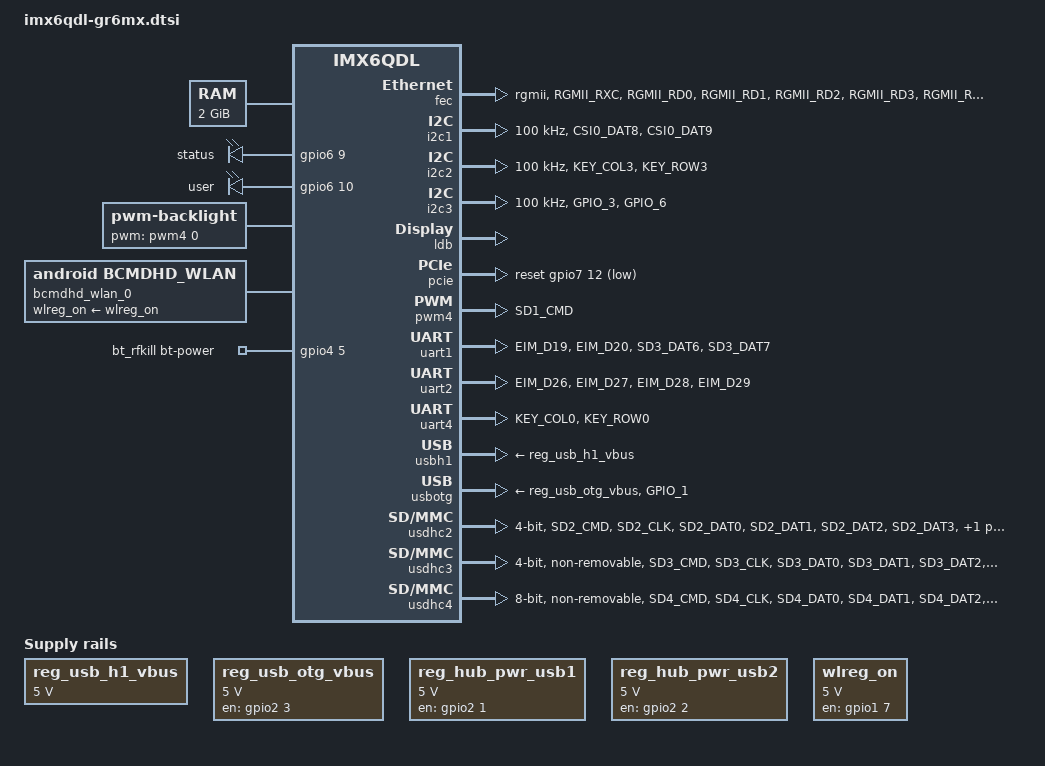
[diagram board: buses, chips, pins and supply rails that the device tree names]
/*
 *
 * Copyright (C) 2015 Frodo Lai
 *
 * This program is free software; you can redistribute it and/or modify
 * it under the terms of the GNU General Public License version 2 as
 * published by the Free Software Foundation.
 *
 */

/{
	aliases {
		mxcfb0 = &mxcfb1;
		mxcfb1 = &mxcfb2;
		mxcfb2 = &mxcfb3;
		mxcfb3 = &mxcfb4;

		vesa_1024x768 = &vesa_1024x768;
		fg_1024x600 = &fg_1024x600;
		vesa_1024x768_2 = &vesa_1024x768_2;
		fg_1024x600_2 = &fg_1024x600_2;
	};

	memory {
		reg = <0x10000000 0x80000000>;
	};

	regulators {
		compatible = "simple-bus";

		reg_usb_h1_vbus: usb_h1_vbus {
			compatible = "regulator-fixed";
			regulator-name = "usb_h1_vbus";
			regulator-min-microvolt = <5000000>;
			regulator-max-microvolt = <5000000>;
		};

		reg_usb_otg_vbus: usb_otg_vbus {
			compatible = "regulator-fixed";
			regulator-name = "usb_otg_vbus";
			regulator-min-microvolt = <5000000>;
			regulator-max-microvolt = <5000000>;
			gpio = <&gpio2 3 0>;
			enable-active-high;
		};

		reg_hub_pwr_usb1: hub_pwr_usb1 {
			compatible = "regulator-fixed";
			regulator-name = "hub_pwr_usb1";
			regulator-min-microvolt = <5000000>;
			regulator-max-microvolt = <5000000>;
			enable-active-high;
			regulator-always-on;
			regulator-boot-on;
			gpio = <&gpio2 1 0>;
		};

		reg_hub_pwr_usb2: hub_pwr_usb2 {
			compatible = "regulator-fixed";
			regulator-name = "hub_pwr_usb2";
			regulator-min-microvolt = <5000000>;
			regulator-max-microvolt = <5000000>;
			enable-active-high;
			regulator-always-on;
			regulator-boot-on;
			gpio = <&gpio2 2 0>;
		};

		leds {
			compatible = "gpio-leds";

			led0: status {
				label = "status";
				gpios = <&gpio6 9 0>;
				default-state = "off";
				linux,default-trigger = "heartbeat";
			};

			led1: user {
				label = "user";
				gpios = <&gpio6 10 0>;
				default-state = "off";
			};

		};

		wlreg_on: fixedregulator@100 {
			compatible = "regulator-fixed";
			regulator-min-microvolt = <5000000>;
			regulator-max-microvolt = <5000000>;
			regulator-name = "wlreg_on";
			gpio = <&gpio1 7 0>;
			startup-delay-us = <100>;
			enable-active-high;
		};
	};

	mxcfb1: fb@0 {
		compatible = "fsl,mxc_sdc_fb";
		disp_dev = "ldb";
		interface_pix_fmt = "RGB666";
		mode_str ="LDB-XGA";
		default_bpp = <16>;
		int_clk = <0>;
		late_init = <0>;
		status = "disabled";
	};

	mxcfb2: fb@1 {
		compatible = "fsl,mxc_sdc_fb";
		disp_dev = "hdmi";
		interface_pix_fmt = "RGB24";
		mode_str ="1920x1080M@60";
		default_bpp = <24>;
		int_clk = <0>;
		late_init = <0>;
		status = "disabled";
	};

	mxcfb3: fb@2 {
		compatible = "fsl,mxc_sdc_fb";
		disp_dev = "lcd";
		interface_pix_fmt = "RGB565";
		mode_str ="CLAA-WVGA";
		default_bpp = <16>;
		int_clk = <0>;
		late_init = <0>;
		status = "disabled";
	};

	mxcfb4: fb@3 {
		compatible = "fsl,mxc_sdc_fb";
		disp_dev = "ldb";
		interface_pix_fmt = "RGB666";
		mode_str ="LDB-XGA";
		default_bpp = <16>;
		int_clk = <0>;
		late_init = <0>;
		status = "disabled";
	};

	lcd@0 {
		compatible = "fsl,lcd";
		ipu_id = <0>;
		disp_id = <0>;
		default_ifmt = "RGB565";
		pinctrl-names = "default";
		pinctrl-0 = <&pinctrl_ipu1>;
		status = "okay";
	};

	pwm-backlight {
		compatible = "pwm-backlight";
		pwms = <&pwm4 0 5000000>;
		brightness-levels = <
			0  /*1  2  3  4  5  6*/  7  8  9
			10 11 12 13 14 15 16 17 18 19
			20 21 22 23 24 25 26 27 28 29
			30 31 32 33 34 35 36 37 38 39
			40 41 42 43 44 45 46 47 48 49
			50 51 52 53 54 55 56 57 58 59
			60 61 62 63 64 65 66 67 68 69
			70 71 72 73 74 75 76 77 78 79
			80 81 82 83 84 85 86 87 88 89
			90 91 92 93 94 95 96 97 98 99
			100
			>;
		default-brightness-level = <75>;
	};

	bcmdhd_wlan_0: bcmdhd_wlan@0 {
		compatible = "android,bcmdhd_wlan";
		wlreg_on-supply = <&wlreg_on>;
	};

	v4l2_out {
		compatible = "fsl,mxc_v4l2_output";
		status = "okay";
	};

    bt_rfkill {
        compatible = "fsl,mxc_bt_rfkill";
        bt-power-gpios = <&gpio4 5 0>;
        status ="okay";
    };
};

&fec {
	pinctrl-names = "default";
	pinctrl-0 = <&pinctrl_enet>;
	phy-mode = "rgmii";
	phy-reset-gpios = <&gpio1 27 GPIO_ACTIVE_LOW>;
	status = "okay";
};

&i2c1 {
	clock-frequency = <100000>;
	pinctrl-names = "default";
	pinctrl-0 = <&pinctrl_i2c1>;
	status = "okay";

};

&i2c2 {
	clock-frequency = <100000>;
	pinctrl-names = "default";
	pinctrl-0 = <&pinctrl_i2c2>;
	status = "okay";

};

&i2c3 {
	clock-frequency = <100000>;
	pinctrl-names = "default";
	pinctrl-0 = <&pinctrl_i2c3>;
	status = "okay";

};

&iomuxc {

	pinctrl-names = "default";
	pinctrl-0 = <&pinctrl_hog>;

	imx6-ar6mx {
	pinctrl_hog: hoggrp {
			fsl,pins = <
				MX6QDL_PAD_SD3_DAT5__GPIO7_IO00     0x80000000   /* SD3_CD   */
				MX6QDL_PAD_SD3_DAT4__GPIO7_IO01     0x80000000   /* SD3_WP   */
				MX6QDL_PAD_GPIO_4__GPIO1_IO04       0x80000000   /* STATUS LED */
				MX6QDL_PAD_GPIO_5__GPIO1_IO05       0x80000000   /* SATA LED */
				MX6QDL_PAD_GPIO_16__GPIO7_IO11      0x80000000   /* PCIE ENABLE */
				MX6QDL_PAD_GPIO_17__GPIO7_IO12      0x80000000   /* PCIE RST */
				MX6QDL_PAD_CSI0_MCLK__CCM_CLKO1    0x130b0
				MX6QDL_PAD_NANDF_D0__GPIO2_IO00      0x1b0b0   /* LCD_RST */
				MX6QDL_PAD_NANDF_D1__GPIO2_IO01      0x80000000   /* BT_REG_ON */
				MX6QDL_PAD_NANDF_D2__GPIO2_IO02      0x80000000   /* BT_REG_ON */
				MX6QDL_PAD_NANDF_D3__GPIO2_IO03      0x80000000   /* BT_REG_ON */
				MX6QDL_PAD_NANDF_D4__GPIO2_IO04      0x80000000   /* BT_REG_ON */
				MX6QDL_PAD_NANDF_D5__GPIO2_IO05      0x80000000   /* BT_REG_ON */
			>;
	};

	pinctrl_enet: enetgrp {
			fsl,pins = <
				MX6QDL_PAD_RGMII_RXC__RGMII_RXC	        0x1b0b0
				MX6QDL_PAD_RGMII_RD0__RGMII_RD0	        0x1b0b0
				MX6QDL_PAD_RGMII_RD1__RGMII_RD1	        0x1b0b0
				MX6QDL_PAD_RGMII_RD2__RGMII_RD2	        0x1b0b0
				MX6QDL_PAD_RGMII_RD3__RGMII_RD3	        0x1b0b0
				MX6QDL_PAD_RGMII_RX_CTL__RGMII_RX_CTL   0x1b0b0
				MX6QDL_PAD_RGMII_TXC__RGMII_TXC	        0x1b0b0
				MX6QDL_PAD_RGMII_TD0__RGMII_TD0	        0x1b0b0
				MX6QDL_PAD_RGMII_TD1__RGMII_TD1	        0x1b0b0
				MX6QDL_PAD_RGMII_TD2__RGMII_TD2	        0x1b0b0
				MX6QDL_PAD_RGMII_TD3__RGMII_TD3	        0x1b0b0
				MX6QDL_PAD_RGMII_TX_CTL__RGMII_TX_CTL   0x1b0b0
				MX6QDL_PAD_ENET_REF_CLK__ENET_TX_CLK	0x1b0b0
				MX6QDL_PAD_ENET_MDIO__ENET_MDIO	        0x1b0b0
				MX6QDL_PAD_ENET_MDC__ENET_MDC	        0x1b0b0
				MX6QDL_PAD_ENET_CRS_DV__GPIO1_IO25      0x80000000/* GE_nRST	*/
				MX6QDL_PAD_ENET_RXD1__GPIO1_IO26	    0x80000000/* CSI_RST_B  */
				MX6QDL_PAD_ENET_TX_EN__GPIO1_IO28       0x80000000/* PHY_INT	*/
			>;
		};

		pinctrl_i2c1: i2c1grp {
			fsl,pins = <
				MX6QDL_PAD_CSI0_DAT8__I2C1_SDA		0x4001b8b1
				MX6QDL_PAD_CSI0_DAT9__I2C1_SCL		0x4001b8b1
			>;
		};

		pinctrl_i2c2: i2c2grp {
			fsl,pins = <
				MX6QDL_PAD_KEY_COL3__I2C2_SCL		0x4001b8b1
				MX6QDL_PAD_KEY_ROW3__I2C2_SDA		0x4001b8b1
			 >;
		};

		pinctrl_i2c3: i2c3grp {
			fsl,pins = <
				MX6QDL_PAD_GPIO_3__I2C3_SCL		0x4001b8b1
				MX6QDL_PAD_GPIO_6__I2C3_SDA		0x4001b8b1
			>;
		};

		pinctrl_ipu1: ipu1grp {
			fsl,pins = <
				MX6QDL_PAD_DI0_DISP_CLK__IPU1_DI0_DISP_CLK 0x10
				MX6QDL_PAD_DI0_PIN15__IPU1_DI0_PIN15       0x10
				MX6QDL_PAD_DI0_PIN2__GPIO4_IO18        0x1b0b0
				MX6QDL_PAD_DI0_PIN3__GPIO4_IO19        0x1b0b0
				MX6QDL_PAD_DI0_PIN4__IPU1_DI0_PIN04        0x80000000
				MX6QDL_PAD_DISP0_DAT0__IPU1_DISP0_DATA00   0x10
				MX6QDL_PAD_DISP0_DAT1__IPU1_DISP0_DATA01   0x10
				MX6QDL_PAD_DISP0_DAT2__IPU1_DISP0_DATA02   0x10
				MX6QDL_PAD_DISP0_DAT3__IPU1_DISP0_DATA03   0x10
				MX6QDL_PAD_DISP0_DAT4__IPU1_DISP0_DATA04   0x10
				MX6QDL_PAD_DISP0_DAT5__IPU1_DISP0_DATA05   0x10
				MX6QDL_PAD_DISP0_DAT6__IPU1_DISP0_DATA06   0x10
				MX6QDL_PAD_DISP0_DAT7__IPU1_DISP0_DATA07   0x10
				MX6QDL_PAD_DISP0_DAT8__IPU1_DISP0_DATA08   0x10
				MX6QDL_PAD_DISP0_DAT9__IPU1_DISP0_DATA09   0x10
				MX6QDL_PAD_DISP0_DAT10__IPU1_DISP0_DATA10  0x10
				MX6QDL_PAD_DISP0_DAT11__IPU1_DISP0_DATA11  0x10
				MX6QDL_PAD_DISP0_DAT12__IPU1_DISP0_DATA12  0x10
				MX6QDL_PAD_DISP0_DAT13__IPU1_DISP0_DATA13  0x10
				MX6QDL_PAD_DISP0_DAT14__IPU1_DISP0_DATA14  0x10
				MX6QDL_PAD_DISP0_DAT15__IPU1_DISP0_DATA15  0x10
				MX6QDL_PAD_DISP0_DAT16__IPU1_DISP0_DATA16  0x10
				MX6QDL_PAD_DISP0_DAT17__IPU1_DISP0_DATA17  0x10
				MX6QDL_PAD_DISP0_DAT18__IPU1_DISP0_DATA18  0x10
				MX6QDL_PAD_DISP0_DAT19__IPU1_DISP0_DATA19  0x10
				MX6QDL_PAD_DISP0_DAT20__IPU1_DISP0_DATA20  0x10
				MX6QDL_PAD_DISP0_DAT21__IPU1_DISP0_DATA21  0x10
				MX6QDL_PAD_DISP0_DAT22__IPU1_DISP0_DATA22  0x10
				MX6QDL_PAD_DISP0_DAT23__IPU1_DISP0_DATA23  0x10
			>;
		};

		pinctrl_pwm4: pwm4grp {
			fsl,pins = <
				MX6QDL_PAD_SD1_CMD__PWM4_OUT 0x1b0b1
			>;
		};

	pinctrl_uart1: uart1grp {
		fsl,pins = <
			MX6QDL_PAD_EIM_D19__UART1_CTS_B     0x1b0b1
			MX6QDL_PAD_EIM_D20__UART1_RTS_B     0x1b0b1
			MX6QDL_PAD_SD3_DAT6__UART1_RX_DATA  0x1b0b1
			MX6QDL_PAD_SD3_DAT7__UART1_TX_DATA  0x1b0b1
			>;
		};

	pinctrl_uart2: uart2grp {
		fsl,pins = <
			MX6QDL_PAD_EIM_D26__UART2_TX_DATA     0x1b0b1
			MX6QDL_PAD_EIM_D27__UART2_RX_DATA     0x1b0b1
			MX6QDL_PAD_EIM_D28__UART2_CTS_B     0x1b0b1
			MX6QDL_PAD_EIM_D29__UART2_RTS_B     0x1b0b1
			>;
		};

	pinctrl_uart4: uart4grp {
		fsl,pins = <
			MX6QDL_PAD_KEY_COL0__UART4_TX_DATA  0x1b0b1
			MX6QDL_PAD_KEY_ROW0__UART4_RX_DATA  0x1b0b1
			>;
		};

		pinctrl_usbotg: usbotggrp {
			fsl,pins = <
				MX6QDL_PAD_GPIO_1__USB_OTG_ID	0x17059
			>;
		};

	pinctrl_usdhc2: usdhc2grp {
		fsl,pins = <
			MX6QDL_PAD_SD2_CMD__SD2_CMD       0x17059
			MX6QDL_PAD_SD2_CLK__SD2_CLK       0x10059
			MX6QDL_PAD_SD2_DAT0__SD2_DATA0    0x17059
			MX6QDL_PAD_SD2_DAT1__SD2_DATA1    0x17059
			MX6QDL_PAD_SD2_DAT2__SD2_DATA2    0x17059
			MX6QDL_PAD_SD2_DAT3__SD2_DATA3    0x17059
			MX6QDL_PAD_GPIO_7__GPIO1_IO07     0x13069   /* WL_REG_ON */
			>;
		};

	pinctrl_usdhc3: usdhc3grp {
		fsl,pins = <
			MX6QDL_PAD_SD3_CMD__SD3_CMD       0x17059
			MX6QDL_PAD_SD3_CLK__SD3_CLK       0x10059
			MX6QDL_PAD_SD3_DAT0__SD3_DATA0    0x17059
			MX6QDL_PAD_SD3_DAT1__SD3_DATA1    0x17059
			MX6QDL_PAD_SD3_DAT2__SD3_DATA2    0x17059
			MX6QDL_PAD_SD3_DAT3__SD3_DATA3    0x17059
			>;
		};

		pinctrl_usdhc4: usdhc4grp {
			fsl,pins = <
				MX6QDL_PAD_SD4_CMD__SD4_CMD		0x17059
				MX6QDL_PAD_SD4_CLK__SD4_CLK		0x10059
				MX6QDL_PAD_SD4_DAT0__SD4_DATA0		0x17059
				MX6QDL_PAD_SD4_DAT1__SD4_DATA1		0x17059
				MX6QDL_PAD_SD4_DAT2__SD4_DATA2		0x17059
				MX6QDL_PAD_SD4_DAT3__SD4_DATA3		0x17059
				MX6QDL_PAD_SD4_DAT4__SD4_DATA4		0x17059
				MX6QDL_PAD_SD4_DAT5__SD4_DATA5		0x17059
				MX6QDL_PAD_SD4_DAT6__SD4_DATA6		0x17059
				MX6QDL_PAD_SD4_DAT7__SD4_DATA7		0x17059
			>;
		};
	};
};

&ldb {
	status = "okay";

	lvds-channel@0 {
		fsl,data-mapping = "spwg";
		fsl,data-width = <18>;
		primary;
		status = "okay";

		display-timings {
			fg_1024x600: FG100131DNSWAGL1 {
				clock-frequency = <50400000>;
				hactive = <1024>;
				vactive = <600>;
				hback-porch = <220>;
				hfront-porch = <40>;
				vback-porch = <5>;
				vfront-porch = <10>;
				hsync-len = <60>;
				vsync-len = <10>;
			};
			vesa_1024x768: hsd100pxn1 {
				clock-frequency = <65000000>;
				hactive = <1024>;
				vactive = <768>;
				hback-porch = <220>;
				hfront-porch = <40>;
				vback-porch = <21>;
				vfront-porch = <7>;
				hsync-len = <60>;
				vsync-len = <10>;
			};
		};
	};

	lvds-channel@1 {
		fsl,data-mapping = "spwg";
		fsl,data-width = <18>;
		status = "okay";

		display-timings {
			fg_1024x600_2: FG100131DNSWAGL1_2 {
				clock-frequency = <50400000>;
				hactive = <1024>;
				vactive = <600>;
				hback-porch = <220>;
				hfront-porch = <40>;
				vback-porch = <5>;
				vfront-porch = <10>;
				hsync-len = <60>;
				vsync-len = <10>;
			};
			vesa_1024x768_2: hsd100pxn1_2 {
				clock-frequency = <65000000>;
				hactive = <1024>;
				vactive = <768>;
				hback-porch = <220>;
				hfront-porch = <40>;
				vback-porch = <21>;
				vfront-porch = <7>;
				hsync-len = <60>;
				vsync-len = <10>;
			};
		};
	};
};

&pcie {
	reset-gpio = <&gpio7 12 GPIO_ACTIVE_LOW>;
	status = "okay";
};

&pwm4 {
	pinctrl-names = "default";
	pinctrl-0 = <&pinctrl_pwm4>;
	status = "okay";
};

&uart1 {
	pinctrl-names = "default";
	pinctrl-0 = <&pinctrl_uart1>;
	fsl,uart-has-rtscts;
	status = "okay";
};

&uart2 {
	pinctrl-names = "default";
	pinctrl-0 = <&pinctrl_uart2>;
	fsl,uart-has-rtscts;
	status = "okay";
};

&uart4 {
	pinctrl-names = "default";
	pinctrl-0 = <&pinctrl_uart4>;
	status = "okay";
};

&usbh1 {
	vbus-supply = <&reg_usb_h1_vbus>;
	status = "okay";
};

&usbotg {
	vbus-supply = <&reg_usb_otg_vbus>;
	pinctrl-names = "default";
	pinctrl-0 = <&pinctrl_usbotg>;
	disable-over-current;
	status = "okay";
};

&usdhc2 {
	pinctrl-names = "default";
	pinctrl-0 = <&pinctrl_usdhc2>;
	bus-width = <4>;
	no-1-8-v;
	wifi-host;
	status = "okay";
};

&usdhc3 {
	pinctrl-names = "default";
	pinctrl-0 = <&pinctrl_usdhc3>;
	cd-gpios = <&gpio7 0 0>;
	//wp-gpios = <&gpio7 1 0>;
	bus-width = <4>;
	non-removable;
	no-1-8-v;
	keep-power-in-suspend;
	enable-sdio-wakeup;
	status = "okay";
};

&usdhc4 {
	pinctrl-names = "default";
	pinctrl-0 = <&pinctrl_usdhc4>;
	bus-width = <8>;
	non-removable;
	no-1-8-v;
	keep-power-in-suspend;
	status = "okay";
};
